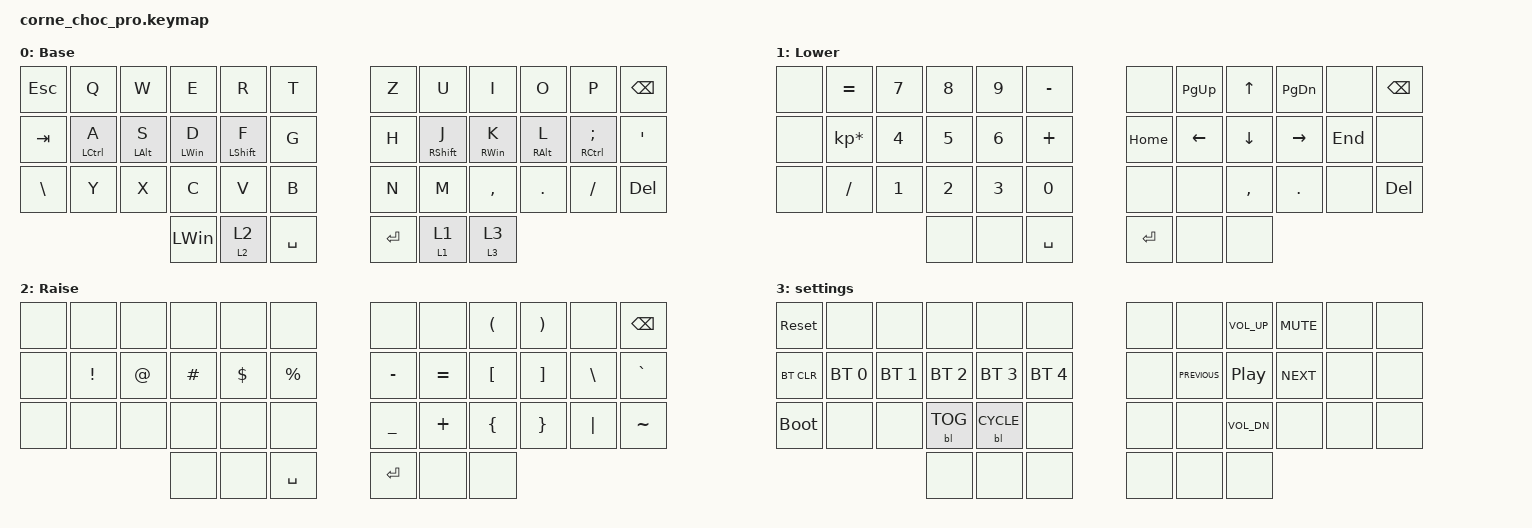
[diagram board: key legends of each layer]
/*
 * Copyright (c) 2020 The ZMK Contributors
 *
 * SPDX-License-Identifier: MIT
 */

#include <behaviors.dtsi>
#include <dt-bindings/zmk/backlight.h>
#include <dt-bindings/zmk/bt.h>
#include <dt-bindings/zmk/keys.h>

/ {
    behaviors {
        HM: HM {
            compatible = "zmk,behavior-hold-tap";
            label = "HM";
            bindings = <&kp>, <&kp>;

            #binding-cells = <2>;
            tapping-term-ms = <400>;
            flavor = "balanced";
            quick-tap-ms = <400>;
            require-prior-idle-ms = <400>;
        };

        HL: HL {
            compatible = "zmk,behavior-hold-tap";
            label = "HL";
            bindings = <&mo>, <&tog>;

            #binding-cells = <2>;
            tapping-term-ms = <400>;
            quick-tap-ms = <400>;
            require-prior-idle-ms = <400>;
            flavor = "balanced";
        };
    };

    keymap {
        compatible = "zmk,keymap";

        qwertz {
            // -----------------------------------------------------------------------------------------
            // |  TAB |  Q  |  W  |  E  |  R  |  T  |   |  Y  |  U   |  I  |  O  |  P  | BKSP |
            // | CTRL |  A  |  S  |  D  |  F  |  G  |   |  H  |  J   |  K  |  L  |  ;  |  '   |
            // | SHFT |  Z  |  X  |  C  |  V  |  B  |   |  N  |  M   |  ,  |  .  |  /  | ESC  |
            //                    | GUI | LWR | SPC |   | ENT | RSE  | ALT |

            display-name = "Base";
            bindings = <
&kp ESC        &kp Q        &kp W           &kp E           &kp R         &kp T        &kp Z    &kp U              &kp I            &kp O            &kp P           &kp BSPC
&kp TAB        &HM LCTRL A  &HM LEFT_ALT S  &HM LEFT_WIN D  &HM LSHIFT F  &kp G        &kp H    &HM RIGHT_SHIFT J  &HM RIGHT_WIN K  &HM RIGHT_ALT L  &HM RCTRL SEMI  &kp SQT
&kp BACKSLASH  &kp Y        &kp X           &kp C           &kp V         &kp B        &kp N    &kp M              &kp COMMA        &kp DOT          &kp FSLH        &kp DEL
                                            &kp LEFT_WIN    &HL 2 2       &kp SPACE    &kp RET  &HL 1 1            &HL 3 3
            >;
        };

        numbers {
            // -----------------------------------------------------------------------------------------
            // |  TAB |  1  |  2  |  3  |  4  |  5  |   |  6  |  7  |  8  |  9  |  0  | BKSP |
            // | BTCLR| BT1 | BT2 | BT3 | BT4 | BT5 |   | LFT | DWN |  UP | RGT |     |      |
            // | SHFT |     |     |     |     |     |   |     |     |     |     |     |      |
            //                    | GUI |     | SPC |   | ENT |     | ALT |

            display-name = "Lower";
            bindings = <
&none  &kp EQUAL        &kp N7        &kp N8        &kp NUMBER_9  &kp MINUS       &none     &kp PAGE_UP  &kp UP_ARROW    &kp PAGE_DOWN  &none    &kp BSPC
&none  &kp KP_MULTIPLY  &kp NUMBER_4  &kp N5        &kp NUMBER_6  &kp PLUS        &kp HOME  &kp LEFT     &kp DOWN_ARROW  &kp RIGHT      &kp END  &none
&none  &kp SLASH        &kp NUMBER_1  &kp NUMBER_2  &kp NUMBER_3  &kp NUMBER_0    &none     &none        &kp COMMA       &kp DOT        &none    &kp DEL
                                      &none         &none         &kp SPACE       &kp RET   &none        &none
            >;
        };

        symbols {
            // -----------------------------------------------------------------------------------------
            // |  TAB |  !  |  @  |  #  |  $  |  %  |   |  ^  |  &  |  *  |  (  |  )  | BKSP |
            // | CTRL |     |     |     |     |     |   |  -  |  =  |  [  |  ]  |  \  |  `   |
            // | SHFT |     |     |     |     |     |   |  _  |  +  |  {  |  }  | "|" |  ~   |
            //                    | GUI |     | SPC |   | ENT |     | ALT |

            display-name = "Raise";
            bindings = <
&none  &none     &none   &none     &none       &none          &none      &none      &kp LPAR  &kp RPAR  &none     &kp BSPC
&none  &kp EXCL  &kp AT  &kp HASH  &kp DOLLAR  &kp PERCENT    &kp MINUS  &kp EQUAL  &kp LBKT  &kp RBKT  &kp BSLH  &kp GRAVE
&none  &none     &none   &none     &none       &none          &kp UNDER  &kp PLUS   &kp LBRC  &kp RBRC  &kp PIPE  &kp TILDE
                         &none     &none       &kp SPACE      &kp RET    &none      &none
            >;
        };

        settings {
            bindings = <
&sys_reset   &none         &none         &none         &none         &none           &none  &none           &kp C_VOLUME_UP   &kp C_MUTE  &none  &none
&bt BT_CLR   &bt BT_SEL 0  &bt BT_SEL 1  &bt BT_SEL 2  &bt BT_SEL 3  &bt BT_SEL 4    &none  &kp C_PREVIOUS  &kp C_PLAY_PAUSE  &kp C_NEXT  &none  &none
&bootloader  &none         &none         &bl BL_TOG    &bl BL_CYCLE  &none           &none  &none           &kp C_VOL_DN      &none       &none  &none
                                         &none         &none         &none           &none  &none           &none
            >;
        };
    };
};
